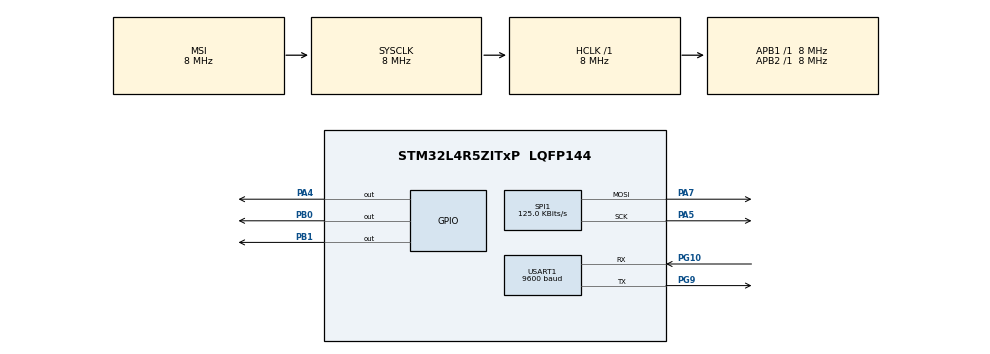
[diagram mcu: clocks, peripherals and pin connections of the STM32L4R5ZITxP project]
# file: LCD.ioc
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Mcu.Family=STM32L4
Mcu.Name=STM32L4R5ZITxP
Mcu.Package=LQFP144
NVIC.PriorityGroup=NVIC_PRIORITYGROUP_4
NVIC.USART1_IRQn=true\:0\:0\:false\:false\:true\:true\:true\:true
PA0.Signal=S_TIM2_CH1
PA1.Signal=ADCx_IN6
PA10.Signal=USB_OTG_FS_ID
PA13\ (JTMS/SWDIO).Signal=SYS_JTMS-SWDIO
PA14\ (JTCK/SWCLK).Signal=SYS_JTCK-SWCLK
PA3.Signal=ADCx_IN8
PA4.Signal=GPIO_Output
PA5.Mode=TX_Only_Simplex_Unidirect_Master
PA5.Signal=SPI1_SCK
PA6.Signal=SPI1_MISO
PA7.Mode=TX_Only_Simplex_Unidirect_Master
PA7.Signal=SPI1_MOSI
PA8.Signal=USB_OTG_FS_SOF
PA9.Signal=USB_OTG_FS_VBUS
PB0.Signal=GPIO_Output
PB1.Signal=GPIO_Output
PB10.Signal=S_TIM2_CH3
PB12.Signal=SAI2_FS_A
PB13.Signal=SAI2_SCK_A
PB14.Signal=S_TIM15_CH1
PB15.Signal=SAI2_SD_A
PB2.Signal=COMP1_INP
PB3\ (JTDO/TRACESWO).Signal=SPI3_SCK
PB4\ (NJTRST).Signal=SPI3_MISO
PB5.Signal=SPI3_MOSI
PB6.Signal=COMP2_INP
PB8.Signal=I2C1_SCL
PB9.Signal=I2C1_SDA
PC0.Signal=ADCx_IN1
PC1.Signal=ADCx_IN2
PC10.Signal=SDMMC1_D2
PC11.Signal=SDMMC1_D3
PC12.Signal=SDMMC1_CK
PC13.Signal=SYS_WKUP2
PC14-OSC32_IN\ (PC14).Signal=RCC_OSC32_IN
PC15-OSC32_OUT\ (PC15).Signal=RCC_OSC32_OUT
PC2.Signal=ADCx_IN3
PC3.Signal=ADCx_IN4
PC4.Signal=ADCx_IN13
PC5.Signal=ADCx_IN14
PC6.Signal=SAI2_MCLK_A
PC7.Signal=S_TIM3_CH2
PC8.Signal=SDMMC1_D0
PC9.Signal=SDMMC1_D1
PD0.Signal=CAN1_RX
PD14.Signal=S_TIM4_CH3
PD15.Signal=S_TIM4_CH4
PD2.Signal=SDMMC1_CMD
PD3.Signal=USART2_CTS
PD4.Signal=USART2_RTS
PD5.Signal=USART2_TX
PD6.Signal=USART2_RX
PD8.Signal=USART3_TX
PD9.Signal=USART3_RX
PE0.Signal=S_TIM4_ETR
PE10.Signal=TIM1_CH2N
PE11.Signal=S_TIM1_CH2
PE12.Signal=TIM1_CH3N
PE13.Signal=S_TIM1_CH3
PE14.Signal=TIM1_BKIN2
PE15.Signal=TIM1_BKIN
PE2.Signal=SAI1_MCLK_A
PE3.Signal=SAI1_SD_B
PE7.Signal=S_TIM1_ETR
PE8.Signal=TIM1_CH1N
PE9.Signal=S_TIM1_CH1
PF0.Signal=I2C2_SDA
PF1.Signal=I2C2_SCL
PF2.Signal=I2C2_SMBA
PF7.Signal=SAI1_MCLK_B
PG10.Mode=Asynchronous
PG10.Signal=USART1_RX
PG7.Signal=LPUART1_TX
PG8.Signal=LPUART1_RX
PG9.Mode=Asynchronous
PG9.Signal=USART1_TX
PH0-OSC_IN\ (PH0).Signal=RCC_OSC_IN
PH1-OSC_OUT\ (PH1).Signal=RCC_OSC_OUT
ProjectManager.HeapSize=0x200
ProjectManager.StackSize=0x400
ProjectManager.TargetToolchain=STM32CubeIDE
RCC.ADCFreq_Value=32000000
RCC.AHBFreq_Value=8000000
RCC.APB1Freq_Value=8000000
RCC.APB1TimFreq_Value=8000000
RCC.APB2Freq_Value=8000000
RCC.APB2TimFreq_Value=8000000
RCC.CortexFreq_Value=8000000
RCC.HCLKFreq_Value=8000000
RCC.HSE_VALUE=8000000
RCC.HSI48_VALUE=48000000
RCC.HSI_VALUE=16000000
RCC.LSE_VALUE=32768
RCC.MSIClockRange=RCC_MSIRANGE_7
RCC.MSI_VALUE=8000000
RCC.SYSCLKFreq_VALUE=8000000
RCC.USBFreq_Value=32000000
RCC.VCOOutputFreq_Value=64000000
SH.ADCx_IN1.0=ADC1_IN1
SH.ADCx_IN13.0=ADC1_IN13
SH.ADCx_IN14.0=ADC1_IN14
SH.ADCx_IN2.0=ADC1_IN2
SH.ADCx_IN3.0=ADC1_IN3
SH.ADCx_IN4.0=ADC1_IN4
SH.ADCx_IN6.0=ADC1_IN6
SH.ADCx_IN8.0=ADC1_IN8
SH.S_TIM15_CH1.0=TIM15_CH1
SH.S_TIM1_CH1.0=TIM1_CH1
SH.S_TIM1_CH2.0=TIM1_CH2
SH.S_TIM1_CH3.0=TIM1_CH3
SH.S_TIM1_ETR.0=TIM1_ETR
SH.S_TIM2_CH1.0=TIM2_CH1
SH.S_TIM2_CH3.0=TIM2_CH3
SH.S_TIM3_CH2.0=TIM3_CH2
SH.S_TIM4_CH3.0=TIM4_CH3
SH.S_TIM4_CH4.0=TIM4_CH4
SH.S_TIM4_ETR.0=TIM4_ETR
SPI1.BaudRatePrescaler=SPI_BAUDRATEPRESCALER_64
SPI1.CalculateBaudRate=125.0 KBits/s
SPI1.DataSize=SPI_DATASIZE_8BIT
SPI1.Direction=SPI_DIRECTION_2LINES
SPI1.Mode=SPI_MODE_MASTER
SPI1.VirtualType=VM_MASTER
STMicroelectronics.X-CUBE-ALGOBUILD.1.3.0.LibraryCcDSPOoLibraryJjDSPOoLibrary=true
USART1.BaudRate=9600
USART1.Mode=MODE_TX_RX
USART1.VirtualMode-Asynchronous=VM_ASYNC
VP_STMicroelectronics.X-CUBE-ALGOBUILD_VS_DSPOoLibraryJjLibrary_1.3.0_1.3.0.Mode=DSPOoLibraryJjLibrary
board=NUCLEO-L4R5ZI-P

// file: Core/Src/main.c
/* USER CODE BEGIN Header */
/**
  ******************************************************************************
  * @file           : main.c
  * @brief          : Main program body
  ******************************************************************************
  * @attention
  *
  * Copyright (c) 2024 STMicroelectronics.
  * All rights reserved.
  *
  * This software is licensed under terms that can be found in the LICENSE file
  * in the root directory of this software component.
  * If no LICENSE file comes with this software, it is provided AS-IS.
  *
  ******************************************************************************
  */
/* USER CODE END Header */
#include "main.h"

/* USER CODE BEGIN Includes */
#define ARM_MATH_CM4
#include "arm_math.h"
#include "math.h"
#include <math.h>
#include <stdint.h>
#include <stdio.h>
#include <string.h>
#include <stdarg.h>
#include "ili9341.h"
#include "fonts.h"
#include "testimg.h"
#include "ili9341_touch.h"
/* USER CODE END Includes */

SPI_HandleTypeDef hspi1;

UART_HandleTypeDef huart1;

/* USER CODE BEGIN PV */
volatile uint8_t  start = 0;
float32_t string_freqs[6] = {82.41, 110.0, 146.83, 196.0, 246.94, 329.63};
float32_t measured_freq;
char *strings[] = {"E (low) ", "A       ", "D       ", "G       ", "B       ", "E (high)"};
char *detected_string;
float32_t string_offset;
uint8_t previous = 0;
uint8_t first = 0;
/* USER CODE END PV */

void SystemClock_Config(void);
static void MX_GPIO_Init(void);
static void MX_SPI1_Init(void);
static void MX_USART1_UART_Init(void);

/* USER CODE BEGIN 0 */
void init() {
	ILI9341_Unselect();
	ILI9341_TouchUnselect();
	ILI9341_Init();
}

uint8_t rx_buffer[14];

/* USER CODE END 0 */

int main(void)
{

  /* MCU Configuration--------------------------------------------------------*/

  /* Reset of all peripherals, Initializes the Flash interface and the Systick. */
  HAL_Init();

  /* Configure the system clock */
  SystemClock_Config();

  /* Initialize all configured peripherals */
  MX_GPIO_Init();
  MX_SPI1_Init();
  /* USER CODE BEGIN 2 */
  init();
  ILI9341_FillScreen(ILI9341_BLACK);
  ILI9341_WriteString(35, 30, "PUSH BUTTON", Font_16x26, ILI9341_WHITE, ILI9341_BLACK);
  ILI9341_WriteString(45, 60, "TO START", Font_16x26, ILI9341_WHITE, ILI9341_BLACK);

  MX_USART1_UART_Init();
  HAL_UART_Receive_IT(&huart1, rx_buffer, sizeof(rx_buffer));

  /* USER CODE END 2 */

  /* Infinite loop */
  while (1)
  {

	}
}

void SystemClock_Config(void)
{
  RCC_OscInitTypeDef RCC_OscInitStruct = {0};
  RCC_ClkInitTypeDef RCC_ClkInitStruct = {0};

  /** Configure the main internal regulator output voltage
  */
  if (HAL_PWREx_ControlVoltageScaling(PWR_REGULATOR_VOLTAGE_SCALE1) != HAL_OK)
  {
    Error_Handler();
  }

  /** Initializes the RCC Oscillators according to the specified parameters
  * in the RCC_OscInitTypeDef structure.
  */
  RCC_OscInitStruct.OscillatorType = RCC_OSCILLATORTYPE_MSI;
  RCC_OscInitStruct.MSIState = RCC_MSI_ON;
  RCC_OscInitStruct.MSICalibrationValue = 0;
  RCC_OscInitStruct.MSIClockRange = RCC_MSIRANGE_7;
  RCC_OscInitStruct.PLL.PLLState = RCC_PLL_NONE;
  if (HAL_RCC_OscConfig(&RCC_OscInitStruct) != HAL_OK)
  {
    Error_Handler();
  }

  /** Initializes the CPU, AHB and APB buses clocks
  */
  RCC_ClkInitStruct.ClockType = RCC_CLOCKTYPE_HCLK|RCC_CLOCKTYPE_SYSCLK
                              |RCC_CLOCKTYPE_PCLK1|RCC_CLOCKTYPE_PCLK2;
  RCC_ClkInitStruct.SYSCLKSource = RCC_SYSCLKSOURCE_MSI;
  RCC_ClkInitStruct.AHBCLKDivider = RCC_SYSCLK_DIV1;
  RCC_ClkInitStruct.APB1CLKDivider = RCC_HCLK_DIV1;
  RCC_ClkInitStruct.APB2CLKDivider = RCC_HCLK_DIV1;

  if (HAL_RCC_ClockConfig(&RCC_ClkInitStruct, FLASH_LATENCY_0) != HAL_OK)
  {
    Error_Handler();
  }
}

static void MX_SPI1_Init(void)
{

  /* SPI1 parameter configuration*/
  hspi1.Instance = SPI1;
  hspi1.Init.Mode = SPI_MODE_MASTER;
  hspi1.Init.Direction = SPI_DIRECTION_2LINES;
  hspi1.Init.DataSize = SPI_DATASIZE_8BIT;
  hspi1.Init.CLKPolarity = SPI_POLARITY_LOW;
  hspi1.Init.CLKPhase = SPI_PHASE_1EDGE;
  hspi1.Init.NSS = SPI_NSS_SOFT;
  hspi1.Init.BaudRatePrescaler = SPI_BAUDRATEPRESCALER_64;
  hspi1.Init.FirstBit = SPI_FIRSTBIT_MSB;
  hspi1.Init.TIMode = SPI_TIMODE_DISABLE;
  hspi1.Init.CRCCalculation = SPI_CRCCALCULATION_DISABLE;
  hspi1.Init.CRCPolynomial = 7;
  hspi1.Init.CRCLength = SPI_CRC_LENGTH_DATASIZE;
  hspi1.Init.NSSPMode = SPI_NSS_PULSE_ENABLE;
  if (HAL_SPI_Init(&hspi1) != HAL_OK)
  {
    Error_Handler();
  }

}

static void MX_USART1_UART_Init(void)
{

  huart1.Instance = USART1;
  huart1.Init.BaudRate = 9600;
  huart1.Init.WordLength = UART_WORDLENGTH_8B;
  huart1.Init.StopBits = UART_STOPBITS_1;
  huart1.Init.Parity = UART_PARITY_NONE;
  huart1.Init.Mode = UART_MODE_TX_RX;
  huart1.Init.HwFlowCtl = UART_HWCONTROL_NONE;
  huart1.Init.OverSampling = UART_OVERSAMPLING_16;
  huart1.Init.OneBitSampling = UART_ONE_BIT_SAMPLE_DISABLE;
  huart1.Init.ClockPrescaler = UART_PRESCALER_DIV1;
  huart1.AdvancedInit.AdvFeatureInit = UART_ADVFEATURE_NO_INIT;
  if (HAL_UART_Init(&huart1) != HAL_OK)
  {
    Error_Handler();
  }
  if (HAL_UARTEx_SetTxFifoThreshold(&huart1, UART_TXFIFO_THRESHOLD_1_8) != HAL_OK)
  {
    Error_Handler();
  }
  if (HAL_UARTEx_SetRxFifoThreshold(&huart1, UART_RXFIFO_THRESHOLD_1_8) != HAL_OK)
  {
    Error_Handler();
  }
  if (HAL_UARTEx_DisableFifoMode(&huart1) != HAL_OK)
  {
    Error_Handler();
  }

}

static void MX_GPIO_Init(void)
{
  GPIO_InitTypeDef GPIO_InitStruct = {0};

  /* GPIO Ports Clock Enable */
  __HAL_RCC_GPIOE_CLK_ENABLE();
  __HAL_RCC_GPIOC_CLK_ENABLE();
  __HAL_RCC_GPIOF_CLK_ENABLE();
  __HAL_RCC_GPIOH_CLK_ENABLE();
  __HAL_RCC_GPIOA_CLK_ENABLE();
  __HAL_RCC_GPIOB_CLK_ENABLE();
  __HAL_RCC_GPIOD_CLK_ENABLE();
  __HAL_RCC_GPIOG_CLK_ENABLE();
  HAL_PWREx_EnableVddIO2();

  /*Configure GPIO pin Output Level */
  HAL_GPIO_WritePin(GPIOA, GPIO_PIN_4, GPIO_PIN_RESET);

  /*Configure GPIO pin Output Level */
  HAL_GPIO_WritePin(GPIOB, GPIO_PIN_0|GPIO_PIN_1, GPIO_PIN_RESET);

  /*Configure GPIO pins : PE2 PE3 */
  GPIO_InitStruct.Pin = GPIO_PIN_2|GPIO_PIN_3;
  GPIO_InitStruct.Mode = GPIO_MODE_AF_PP;
  GPIO_InitStruct.Pull = GPIO_NOPULL;
  GPIO_InitStruct.Speed = GPIO_SPEED_FREQ_LOW;
  GPIO_InitStruct.Alternate = GPIO_AF13_SAI1;
  HAL_GPIO_Init(GPIOE, &GPIO_InitStruct);

  /*Configure GPIO pins : PF0 PF1 PF2 */
  GPIO_InitStruct.Pin = GPIO_PIN_0|GPIO_PIN_1|GPIO_PIN_2;
  GPIO_InitStruct.Mode = GPIO_MODE_AF_OD;
  GPIO_InitStruct.Pull = GPIO_NOPULL;
  GPIO_InitStruct.Speed = GPIO_SPEED_FREQ_VERY_HIGH;
  GPIO_InitStruct.Alternate = GPIO_AF4_I2C2;
  HAL_GPIO_Init(GPIOF, &GPIO_InitStruct);

  /*Configure GPIO pin : PF7 */
  GPIO_InitStruct.Pin = GPIO_PIN_7;
  GPIO_InitStruct.Mode = GPIO_MODE_AF_PP;
  GPIO_InitStruct.Pull = GPIO_NOPULL;
  GPIO_InitStruct.Speed = GPIO_SPEED_FREQ_LOW;
  GPIO_InitStruct.Alternate = GPIO_AF13_SAI1;
  HAL_GPIO_Init(GPIOF, &GPIO_InitStruct);

  /*Configure GPIO pins : PC0 PC1 PC2 PC3
                           PC4 PC5 */
  GPIO_InitStruct.Pin = GPIO_PIN_0|GPIO_PIN_1|GPIO_PIN_2|GPIO_PIN_3
                          |GPIO_PIN_4|GPIO_PIN_5;
  GPIO_InitStruct.Mode = GPIO_MODE_ANALOG_ADC_CONTROL;
  GPIO_InitStruct.Pull = GPIO_NOPULL;
  HAL_GPIO_Init(GPIOC, &GPIO_InitStruct);

  /*Configure GPIO pin : PA0 */
  GPIO_InitStruct.Pin = GPIO_PIN_0;
  GPIO_InitStruct.Mode = GPIO_MODE_AF_PP;
  GPIO_InitStruct.Pull = GPIO_NOPULL;
  GPIO_InitStruct.Speed = GPIO_SPEED_FREQ_LOW;
  GPIO_InitStruct.Alternate = GPIO_AF1_TIM2;
  HAL_GPIO_Init(GPIOA, &GPIO_InitStruct);

  /*Configure GPIO pins : PA1 PA3 */
  GPIO_InitStruct.Pin = GPIO_PIN_1|GPIO_PIN_3;
  GPIO_InitStruct.Mode = GPIO_MODE_ANALOG_ADC_CONTROL;
  GPIO_InitStruct.Pull = GPIO_NOPULL;
  HAL_GPIO_Init(GPIOA, &GPIO_InitStruct);

  /*Configure GPIO pin : PA4 */
  GPIO_InitStruct.Pin = GPIO_PIN_4;
  GPIO_InitStruct.Mode = GPIO_MODE_OUTPUT_PP;
  GPIO_InitStruct.Pull = GPIO_NOPULL;
  GPIO_InitStruct.Speed = GPIO_SPEED_FREQ_LOW;
  HAL_GPIO_Init(GPIOA, &GPIO_InitStruct);

  /*Configure GPIO pins : PB0 PB1 */
  GPIO_InitStruct.Pin = GPIO_PIN_0|GPIO_PIN_1;
  GPIO_InitStruct.Mode = GPIO_MODE_OUTPUT_PP;
  GPIO_InitStruct.Pull = GPIO_NOPULL;
  GPIO_InitStruct.Speed = GPIO_SPEED_FREQ_LOW;
  HAL_GPIO_Init(GPIOB, &GPIO_InitStruct);

  /*Configure GPIO pins : PB2 PB6 */
  GPIO_InitStruct.Pin = GPIO_PIN_2|GPIO_PIN_6;
  GPIO_InitStruct.Mode = GPIO_MODE_ANALOG;
  GPIO_InitStruct.Pull = GPIO_NOPULL;
  HAL_GPIO_Init(GPIOB, &GPIO_InitStruct);

  /*Configure GPIO pins : PE7 PE8 PE9 PE10
                           PE11 PE12 PE13 */
  GPIO_InitStruct.Pin = GPIO_PIN_7|GPIO_PIN_8|GPIO_PIN_9|GPIO_PIN_10
                          |GPIO_PIN_11|GPIO_PIN_12|GPIO_PIN_13;
  GPIO_InitStruct.Mode = GPIO_MODE_AF_PP;
  GPIO_InitStruct.Pull = GPIO_NOPULL;
  GPIO_InitStruct.Speed = GPIO_SPEED_FREQ_LOW;
  GPIO_InitStruct.Alternate = GPIO_AF1_TIM1;
  HAL_GPIO_Init(GPIOE, &GPIO_InitStruct);

  /*Configure GPIO pins : PE14 PE15 */
  GPIO_InitStruct.Pin = GPIO_PIN_14|GPIO_PIN_15;
  GPIO_InitStruct.Mode = GPIO_MODE_AF_PP;
  GPIO_InitStruct.Pull = GPIO_NOPULL;
  GPIO_InitStruct.Speed = GPIO_SPEED_FREQ_LOW;
  GPIO_InitStruct.Alternate = GPIO_AF3_TIM1_COMP1;
  HAL_GPIO_Init(GPIOE, &GPIO_InitStruct);

  /*Configure GPIO pin : PB10 */
  GPIO_InitStruct.Pin = GPIO_PIN_10;
  GPIO_InitStruct.Mode = GPIO_MODE_AF_PP;
  GPIO_InitStruct.Pull = GPIO_NOPULL;
  GPIO_InitStruct.Speed = GPIO_SPEED_FREQ_LOW;
  GPIO_InitStruct.Alternate = GPIO_AF1_TIM2;
  HAL_GPIO_Init(GPIOB, &GPIO_InitStruct);

  /*Configure GPIO pins : PB12 PB13 PB15 */
  GPIO_InitStruct.Pin = GPIO_PIN_12|GPIO_PIN_13|GPIO_PIN_15;
  GPIO_InitStruct.Mode = GPIO_MODE_AF_PP;
  GPIO_InitStruct.Pull = GPIO_NOPULL;
  GPIO_InitStruct.Speed = GPIO_SPEED_FREQ_LOW;
  GPIO_InitStruct.Alternate = GPIO_AF13_SAI2;
  HAL_GPIO_Init(GPIOB, &GPIO_InitStruct);

  /*Configure GPIO pin : PB14 */
  GPIO_InitStruct.Pin = GPIO_PIN_14;
  GPIO_InitStruct.Mode = GPIO_MODE_AF_PP;
  GPIO_InitStruct.Pull = GPIO_NOPULL;
  GPIO_InitStruct.Speed = GPIO_SPEED_FREQ_LOW;
  GPIO_InitStruct.Alternate = GPIO_AF14_TIM15;
  HAL_GPIO_Init(GPIOB, &GPIO_InitStruct);

  /*Configure GPIO pins : PD8 PD9 */
  GPIO_InitStruct.Pin = GPIO_PIN_8|GPIO_PIN_9;
  GPIO_InitStruct.Mode = GPIO_MODE_AF_PP;
  GPIO_InitStruct.Pull = GPIO_NOPULL;
  GPIO_InitStruct.Speed = GPIO_SPEED_FREQ_VERY_HIGH;
  GPIO_InitStruct.Alternate = GPIO_AF7_USART3;
  HAL_GPIO_Init(GPIOD, &GPIO_InitStruct);

  /*Configure GPIO pins : PD14 PD15 */
  GPIO_InitStruct.Pin = GPIO_PIN_14|GPIO_PIN_15;
  GPIO_InitStruct.Mode = GPIO_MODE_AF_PP;
  GPIO_InitStruct.Pull = GPIO_NOPULL;
  GPIO_InitStruct.Speed = GPIO_SPEED_FREQ_LOW;
  GPIO_InitStruct.Alternate = GPIO_AF2_TIM4;
  HAL_GPIO_Init(GPIOD, &GPIO_InitStruct);

  /*Configure GPIO pins : PG7 PG8 */
  GPIO_InitStruct.Pin = GPIO_PIN_7|GPIO_PIN_8;
  GPIO_InitStruct.Mode = GPIO_MODE_AF_PP;
  GPIO_InitStruct.Pull = GPIO_NOPULL;
  GPIO_InitStruct.Speed = GPIO_SPEED_FREQ_VERY_HIGH;
  GPIO_InitStruct.Alternate = GPIO_AF8_LPUART1;
  HAL_GPIO_Init(GPIOG, &GPIO_InitStruct);

  /*Configure GPIO pin : PC6 */
  GPIO_InitStruct.Pin = GPIO_PIN_6;
  GPIO_InitStruct.Mode = GPIO_MODE_AF_PP;
  GPIO_InitStruct.Pull = GPIO_NOPULL;
  GPIO_InitStruct.Speed = GPIO_SPEED_FREQ_LOW;
  GPIO_InitStruct.Alternate = GPIO_AF13_SAI2;
  HAL_GPIO_Init(GPIOC, &GPIO_InitStruct);

  /*Configure GPIO pin : PC7 */
  GPIO_InitStruct.Pin = GPIO_PIN_7;
  GPIO_InitStruct.Mode = GPIO_MODE_AF_PP;
  GPIO_InitStruct.Pull = GPIO_NOPULL;
  GPIO_InitStruct.Speed = GPIO_SPEED_FREQ_LOW;
  GPIO_InitStruct.Alternate = GPIO_AF2_TIM3;
  HAL_GPIO_Init(GPIOC, &GPIO_InitStruct);

  /*Configure GPIO pins : PC8 PC9 PC10 PC11
                           PC12 */
  GPIO_InitStruct.Pin = GPIO_PIN_8|GPIO_PIN_9|GPIO_PIN_10|GPIO_PIN_11
                          |GPIO_PIN_12;
  GPIO_InitStruct.Mode = GPIO_MODE_AF_PP;
  GPIO_InitStruct.Pull = GPIO_NOPULL;
  GPIO_InitStruct.Speed = GPIO_SPEED_FREQ_VERY_HIGH;
  GPIO_InitStruct.Alternate = GPIO_AF12_SDMMC1;
  HAL_GPIO_Init(GPIOC, &GPIO_InitStruct);

  /*Configure GPIO pins : PA8 PA10 */
  GPIO_InitStruct.Pin = GPIO_PIN_8|GPIO_PIN_10;
  GPIO_InitStruct.Mode = GPIO_MODE_AF_PP;
  GPIO_InitStruct.Pull = GPIO_NOPULL;
  GPIO_InitStruct.Speed = GPIO_SPEED_FREQ_VERY_HIGH;
  GPIO_InitStruct.Alternate = GPIO_AF10_OTG_FS;
  HAL_GPIO_Init(GPIOA, &GPIO_InitStruct);

  /*Configure GPIO pin : PA9 */
  GPIO_InitStruct.Pin = GPIO_PIN_9;
  GPIO_InitStruct.Mode = GPIO_MODE_INPUT;
  GPIO_InitStruct.Pull = GPIO_NOPULL;
  HAL_GPIO_Init(GPIOA, &GPIO_InitStruct);

  /*Configure GPIO pin : PD0 */
  GPIO_InitStruct.Pin = GPIO_PIN_0;
  GPIO_InitStruct.Mode = GPIO_MODE_AF_PP;
  GPIO_InitStruct.Pull = GPIO_NOPULL;
  GPIO_InitStruct.Speed = GPIO_SPEED_FREQ_VERY_HIGH;
  GPIO_InitStruct.Alternate = GPIO_AF9_CAN1;
  HAL_GPIO_Init(GPIOD, &GPIO_InitStruct);

  /*Configure GPIO pin : PD2 */
  GPIO_InitStruct.Pin = GPIO_PIN_2;
  GPIO_InitStruct.Mode = GPIO_MODE_AF_PP;
  GPIO_InitStruct.Pull = GPIO_NOPULL;
  GPIO_InitStruct.Speed = GPIO_SPEED_FREQ_VERY_HIGH;
  GPIO_InitStruct.Alternate = GPIO_AF12_SDMMC1;
  HAL_GPIO_Init(GPIOD, &GPIO_InitStruct);

  /*Configure GPIO pins : PD3 PD4 PD5 PD6 */
  GPIO_InitStruct.Pin = GPIO_PIN_3|GPIO_PIN_4|GPIO_PIN_5|GPIO_PIN_6;
  GPIO_InitStruct.Mode = GPIO_MODE_AF_PP;
  GPIO_InitStruct.Pull = GPIO_NOPULL;
  GPIO_InitStruct.Speed = GPIO_SPEED_FREQ_VERY_HIGH;
  GPIO_InitStruct.Alternate = GPIO_AF7_USART2;
  HAL_GPIO_Init(GPIOD, &GPIO_InitStruct);

  /*Configure GPIO pins : PB3 PB4 PB5 */
  GPIO_InitStruct.Pin = GPIO_PIN_3|GPIO_PIN_4|GPIO_PIN_5;
  GPIO_InitStruct.Mode = GPIO_MODE_AF_PP;
  GPIO_InitStruct.Pull = GPIO_NOPULL;
  GPIO_InitStruct.Speed = GPIO_SPEED_FREQ_VERY_HIGH;
  GPIO_InitStruct.Alternate = GPIO_AF6_SPI3;
  HAL_GPIO_Init(GPIOB, &GPIO_InitStruct);

  /*Configure GPIO pins : PB8 PB9 */
  GPIO_InitStruct.Pin = GPIO_PIN_8|GPIO_PIN_9;
  GPIO_InitStruct.Mode = GPIO_MODE_AF_OD;
  GPIO_InitStruct.Pull = GPIO_NOPULL;
  GPIO_InitStruct.Speed = GPIO_SPEED_FREQ_VERY_HIGH;
  GPIO_InitStruct.Alternate = GPIO_AF4_I2C1;
  HAL_GPIO_Init(GPIOB, &GPIO_InitStruct);

  /*Configure GPIO pin : PE0 */
  GPIO_InitStruct.Pin = GPIO_PIN_0;
  GPIO_InitStruct.Mode = GPIO_MODE_AF_PP;
  GPIO_InitStruct.Pull = GPIO_NOPULL;
  GPIO_InitStruct.Speed = GPIO_SPEED_FREQ_LOW;
  GPIO_InitStruct.Alternate = GPIO_AF2_TIM4;
  HAL_GPIO_Init(GPIOE, &GPIO_InitStruct);

}

/* USER CODE BEGIN 4 */

void reverse(char* str, int len)
{
    int i = 0, j = len - 1, temp;
    while (i < j) {
        temp = str[i];
        str[i] = str[j];
        str[j] = temp;
        i++;
        j--;
    }
}

int intToStr(int x, char str[], int d)
{
    int i = 0;
    while (x) {
        str[i++] = (x % 10) + '0';
        x = x / 10;
    }

    // If number of digits required is more, then
    // add 0s at the beginning
    while (i < d)
        str[i++] = '0';

    reverse(str, i);
    str[i] = '\0';
    return i;
}

void ftoa(float n, char* res, int afterpoint)
{
    // Extract integer part
    int ipart = (int)n;

    // Extract floating part
    float fpart = n - (float)ipart;

    // convert integer part to string
    int i = intToStr(ipart, res, 0);

    // check for display option after point
    if (afterpoint != 0) {
        res[i] = '.'; // add dot

        // Get the value of fraction part upto given no.
        // of points after dot. The third parameter
        // is needed to handle cases like 233.007
        fpart = fpart * pow(10, afterpoint);

        intToStr((int)fpart, res + i + 1, afterpoint);
    }
}

union Float_as_buffer {
	  float f;
	  uint8_t buf[4];
 };

void HAL_UART_RxCpltCallback(UART_HandleTypeDef *huart)
{
    if (huart->Instance == USART1) // Make sure the callback is for the correct UART
    {
    	uint8_t first_key_idx = 7;

    	for (uint8_t i = 0; i < 7; ++i) {
    		if (rx_buffer[i] == 0xFF && rx_buffer[i+1] == 0xFF) {
    			first_key_idx = i+2;
    			break;
    		}
    	}

    	if (first_key_idx == 7) {
    		// Process data: Use the variables as needed
			HAL_UART_DeInit(huart);

			// Re-Initialize the UART peripheral
			HAL_UART_Init(huart);

    		HAL_UART_Receive_IT(huart, rx_buffer, sizeof(rx_buffer));
    		return;
    	}

        uint8_t start = rx_buffer[first_key_idx];

        if(!previous && start) {
          	ILI9341_WriteString(35, 30, "PUSH BUTTON", Font_16x26, ILI9341_BLACK, ILI9341_BLACK);
		        ILI9341_WriteString(45, 60, "TO START", Font_16x26, ILI9341_BLACK, ILI9341_BLACK);
		        ILI9341_WriteString(10, 0, "String Detected:", Font_11x18, ILI9341_WHITE, ILI9341_BLACK);
		        //ILI9341_WriteString(100, 30, detected_string, Font_16x26, ILI9341_WHITE, ILI9341_BLACK);
		        ILI9341_WriteString(10, 60, "Actual Frequency:", Font_11x18, ILI9341_WHITE, ILI9341_BLACK);
		        //ILI9341_WriteString(100, 90, charFreq, Font_16x26, ILI9341_WHITE, ILI9341_BLACK);
		        ILI9341_WriteString(10, 120, "Desired Frequency:", Font_11x18, ILI9341_WHITE, ILI9341_BLACK);
		        //ILI9341_WriteString(100, 150, desiredFreq, Font_16x26, ILI9341_WHITE, ILI9341_BLACK);
        }

        if(previous && !start) {
        		ILI9341_WriteString(10, 0, "String Detected:", Font_11x18, ILI9341_BLACK, ILI9341_BLACK);
		        ILI9341_WriteString(100, 30, "        ", Font_16x26, ILI9341_BLACK, ILI9341_BLACK);
		        ILI9341_WriteString(10, 60, "Actual Frequency:", Font_11x18, ILI9341_BLACK, ILI9341_BLACK);
		        ILI9341_WriteString(100, 90, "        ", Font_16x26, ILI9341_BLACK, ILI9341_BLACK);
		        ILI9341_WriteString(10, 120, "Desired Frequency:", Font_11x18, ILI9341_BLACK, ILI9341_BLACK);
		        ILI9341_WriteString(100, 150, "        ", Font_16x26, ILI9341_BLACK, ILI9341_BLACK);
        }

        if (!start) {
        	ILI9341_WriteString(35, 30, "PUSH BUTTON", Font_16x26, ILI9341_WHITE, ILI9341_BLACK);
        	ILI9341_WriteString(45, 60, "TO START", Font_16x26, ILI9341_WHITE, ILI9341_BLACK);
        }

        previous = start;

        union Float_as_buffer detected_freq_FAB;

        detected_freq_FAB.buf[0]   = rx_buffer[first_key_idx+1];
        detected_freq_FAB.buf[1] = rx_buffer[first_key_idx+2];
        detected_freq_FAB.buf[2] = rx_buffer[first_key_idx+3];
        detected_freq_FAB.buf[3] = rx_buffer[first_key_idx+4];
        float test = detected_freq_FAB.f;

        if(start && (test != 0)) {

          // CALCULATE //

          char char_detected_freq[7];
          char desiredFreq[7];
          ftoa(detected_freq_FAB.f, char_detected_freq, 2);

          //Match frequency to string

          //find smallest magnitude of distance
          float32_t min_freqs[6];
            for(int i = 0; i < 6; ++i){
            min_freqs[i] = string_freqs[i] - detected_freq_FAB.f;
          }

          arm_abs_f32(min_freqs, min_freqs, 6);

          //find the argmin
          float32_t current_min = min_freqs[0];
          uint8_t index = 0;
          for(int i = 0; i < 6; ++i){
            if (min_freqs[i] < current_min){
              current_min = min_freqs[i];
              index = i;
            }
          }

          //assign detected string
          detected_string = strings[index];
          string_offset = detected_freq_FAB.f - string_freqs[index];
          ftoa(string_freqs[index], desiredFreq, 2);

          // CALCULATE //
          if(detected_freq_FAB.f == 0.0){
        	  //So initially when we click start it doesnt display a freq (blank)
        	  char blank[7] = "       ";
        	  strcpy(char_detected_freq, "       ");
        	  strcpy(desiredFreq, "       ");
        	  detected_string = blank;
          }

          ILI9341_WriteString(100, 30, detected_string, Font_16x26, ILI9341_WHITE, ILI9341_BLACK);
          ILI9341_WriteString(100, 90, char_detected_freq, Font_16x26, ILI9341_WHITE, ILI9341_BLACK);
          ILI9341_WriteString(100, 150, desiredFreq, Font_16x26, ILI9341_WHITE, ILI9341_BLACK);

        }

		HAL_UART_DeInit(huart);

		// Re-Initialize the UART peripheral
		HAL_UART_Init(huart);

        // Ready to receive the next piece of data
		HAL_UART_Receive_IT(huart, rx_buffer, sizeof(rx_buffer)); // Use correct size as per your protocol
    }
}

/* USER CODE END 4 */

void Error_Handler(void)
{
  __disable_irq();
  while (1)
  {
  }
}
